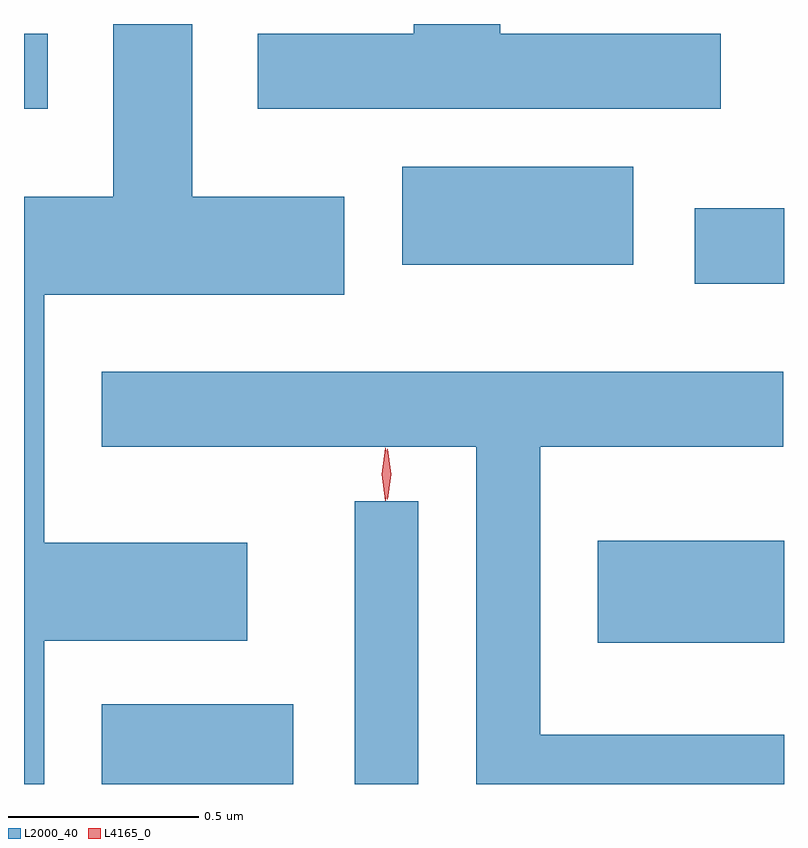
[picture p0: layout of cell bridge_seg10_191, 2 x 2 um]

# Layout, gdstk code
import gdstk
lib = gdstk.Library(unit=1e-6, precision=1e-09)
def R(c, l, rs):  # rectangles x0, y0, x1, y1
    for r in rs: c.add(gdstk.rectangle(r[:2], r[2:], *l))
def P(c, l, *ps):  # polygons
    for p in ps: c.add(gdstk.Polygon(p, *l))
L2000_40 = (2000, 40)
L4165_0 = (4165, 0)

bridge_seg10_191 = lib.new_cell('bridge_seg10_191')
R(bridge_seg10_191, L2000_40, [(1817.286,2141.429,1817.789,2141.639), (1817.951,2141.429,1818.119,2142.173), (1818.591,2141.801,1819.081,2142.069), (1818.846,2142.746,1819.081,2142.944), (1818.076,2142.796,1818.684,2143.054), (1817.081,2143.206,1817.144,2143.404)])
P(bridge_seg10_191, L2000_40, [(1817.134,2141.806),(1817.669,2141.806),(1817.669,2142.064),(1817.134,2142.064),(1817.134,2142.716),(1817.924,2142.716),(1817.924,2142.974),(1817.524,2142.974),(1817.524,2143.429),(1817.316,2143.429),(1817.316,2142.974),(1817.081,2142.974),(1817.081,2141.429),(1817.134,2141.429)],
  [(1818.914,2143.404),(1818.334,2143.404),(1818.334,2143.429),(1818.106,2143.429),(1818.106,2143.404),(1817.696,2143.404),(1817.696,2143.206),(1818.914,2143.206)],
  [(1819.081,2141.559),(1818.439,2141.559),(1818.439,2142.316),(1819.079,2142.316),(1819.079,2142.514),(1817.286,2142.514),(1817.286,2142.316),(1818.271,2142.316),(1818.271,2141.429),(1819.081,2141.429)])
P(bridge_seg10_191, L4165_0, [(1818.032,2142.174),(1818.032,2142.175),(1818.022,2142.244),(1818.032,2142.313),(1818.032,2142.314),(1818.033,2142.313),(1818.042,2142.244),(1818.033,2142.175)],
  [(1818.037,2142.178),(1818.037,2142.178),(1818.028,2142.244),(1818.037,2142.31),(1818.038,2142.311),(1818.038,2142.31),(1818.048,2142.244),(1818.038,2142.178)])

lib.write_gds('bridge_seg10_191.gds')
